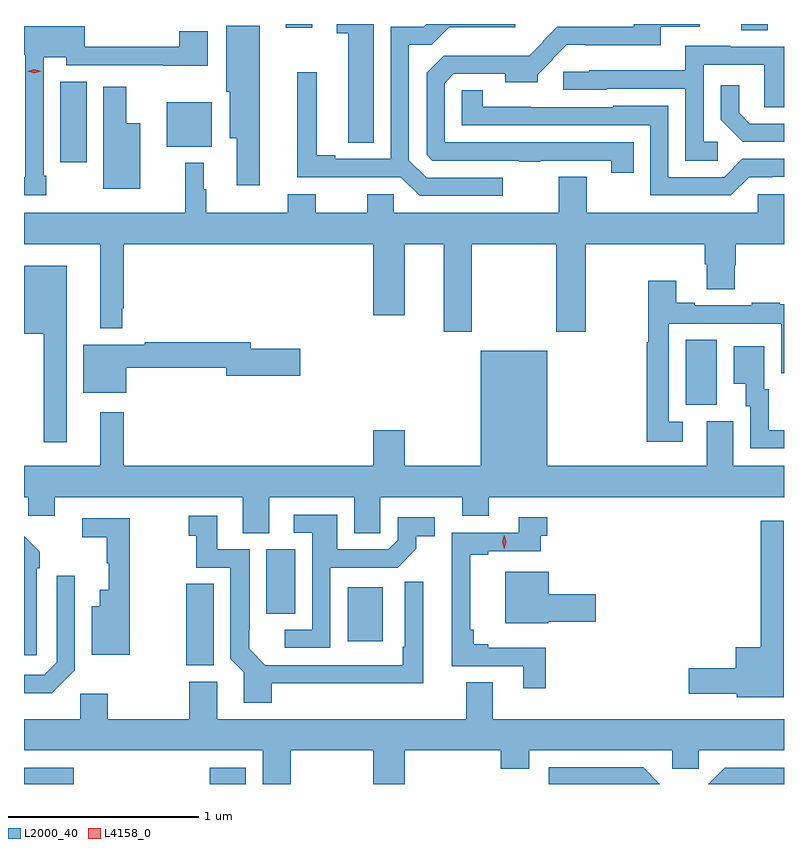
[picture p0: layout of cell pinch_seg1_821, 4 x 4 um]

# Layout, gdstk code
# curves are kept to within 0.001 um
import gdstk
lib = gdstk.Library(unit=1e-6, precision=1e-09)
def R(c, l, rs):  # rectangles x0, y0, x1, y1
    for r in rs: c.add(gdstk.rectangle(r[:2], r[2:], *l))
def P(c, l, *ps):  # polygons
    for p in ps: c.add(gdstk.Polygon(p, *l))
L2000_40 = (2000, 40)
L4158_0 = (4158, 0)

pinch_seg1_821 = lib.new_cell('pinch_seg1_821')
R(pinch_seg1_821, L2000_40, [(462.869,570.202,463.131,570.288), (463.846,570.202,464.037,570.288), (463.724,570.827,463.867,571.256), (464.573,570.953,464.758,571.237), (464.144,571.099,464.296,571.438), (466.352,572.197,466.516,572.54), (463.061,573.474,463.198,573.899), (463.619,573.557,463.858,573.79), (466.643,574.168,466.783,574.202), (464.246,574.182,464.386,574.202)])
P(pinch_seg1_821, L2000_40, [(464.71,574.202),(464.514,574.202),(464.514,574.153),(464.576,574.153),(464.576,573.577),(464.71,573.577)],
  [(466.079,573.579),(465.084,573.579),(465.084,573.891),(465.132,573.939),(465.401,573.939),(465.401,573.896),(465.572,573.896),(465.572,573.936),(465.651,574.014),(465.648,574.017),(465.725,574.094),(465.826,574.094),(465.826,574.091),(466.219,574.091),(466.219,574.188),(466.426,574.188),(466.426,574.202),(466.079,574.202),(466.079,574.188),(465.675,574.188),(465.599,574.111),(465.601,574.109),(465.527,574.036),(465.193,574.036),(465.193,574.034),(465.077,574.034),(464.988,573.945),(464.988,573.513),(465.018,573.483),(465.475,573.483),(465.475,573.478),(465.587,573.478),(465.587,573.483),(465.961,573.483),(465.961,573.42),(466.079,573.42)],
  [(465.388,573.393),(464.988,573.393),(464.895,573.486),(464.895,574.093),(465.016,574.093),(465.107,574.184),(465.454,574.184),(465.454,574.202),(464.987,574.202),(464.973,574.188),(464.799,574.188),(464.799,573.492),(464.506,573.492),(464.506,573.512),(464.41,573.512),(464.41,573.949),(464.306,573.949),(464.306,573.396),(464.852,573.396),(464.951,573.297),(465.388,573.297)],
  [(464.11,574.192),(463.934,574.192),(463.934,573.846),(463.952,573.846),(463.952,573.602),(463.988,573.602),(463.988,573.354),(464.11,573.354)],
  [(462.985,573.403),(462.972,573.403),(462.972,574.028),(463.092,574.028),(463.092,573.984),(463.601,573.984),(463.601,573.983),(463.837,573.983),(463.837,574.165),(463.685,574.165),(463.685,574.082),(463.188,574.082),(463.188,574.189),(462.869,574.189),(462.869,574.04),(462.876,574.04),(462.876,573.396),(462.869,573.396),(462.869,573.3),(462.985,573.3)],
  [(466.519,573.582),(466.446,573.582),(466.446,573.987),(466.764,573.987),(466.764,573.763),(466.869,573.763),(466.869,574.083),(466.585,574.083),(466.585,574.087),(466.349,574.087),(466.349,573.958),(465.843,573.958),(465.843,573.951),(465.708,573.951),(465.708,573.855),(465.933,573.855),(465.933,573.861),(466.35,573.861),(466.35,573.481),(466.519,573.481)],
  [(466.869,573.678),(466.69,573.678),(466.633,573.735),(466.633,573.88),(466.536,573.88),(466.536,573.698),(466.652,573.582),(466.869,573.582)],
  [(463.48,573.679),(463.408,573.679),(463.408,573.871),(463.286,573.871),(463.286,573.335),(463.48,573.335)],
  [(466.686,573.396),(466.806,573.396),(466.806,573.399),(466.869,573.399),(466.869,573.492),(466.65,573.492),(466.554,573.396),(466.26,573.396),(466.26,573.772),(465.969,573.772),(465.969,573.765),(465.283,573.766),(465.283,573.854),(465.174,573.854),(465.174,573.669),(466.164,573.669),(466.164,573.3),(466.59,573.3)],
  [(465.225,573.044),(465.67,573.044),(465.67,572.583),(465.825,572.583),(465.825,573.044),(466.451,573.044),(466.451,572.938),(466.463,572.938),(466.463,572.806),(466.611,572.806),(466.611,572.931),(466.616,572.931),(466.616,573.044),(466.869,573.044),(466.869,573.306),(466.731,573.306),(466.731,573.208),(465.831,573.208),(465.831,573.398),(465.683,573.398),(465.683,573.208),(464.814,573.208),(464.814,573.306),(464.675,573.306),(464.675,573.208),(464.404,573.208),(464.404,573.307),(464.257,573.307),(464.257,573.208),(463.828,573.208),(463.828,573.332),(463.816,573.332),(463.816,573.472),(463.717,573.472),(463.717,573.208),(462.869,573.208),(462.869,573.044),(463.271,573.044),(463.271,572.6),(463.386,572.6),(463.386,572.707),(463.393,572.707),(463.393,573.044),(464.708,573.044),(464.708,572.67),(464.872,572.67),(464.872,573.044),(465.077,573.044),(465.077,572.583),(465.225,572.583)],
  [(463.093,572.929),(462.869,572.929),(462.869,572.573),(462.972,572.573),(462.972,572.001),(463.093,572.001)],
  [(466.336,572.109),(466.263,572.109),(466.263,572.625),(466.854,572.625),(466.854,572.364),(466.869,572.364),(466.869,572.727),(466.847,572.727),(466.847,572.734),(466.699,572.734),(466.699,572.721),(466.399,572.721),(466.399,572.734),(466.303,572.734),(466.303,572.851),(466.155,572.851),(466.155,572.528),(466.147,572.528),(466.147,572.004),(466.336,572.004)],
  [(463.408,572.392),(463.934,572.392),(463.934,572.35),(464.323,572.35),(464.323,572.492),(464.062,572.492),(464.062,572.528),(463.504,572.528),(463.504,572.515),(463.181,572.515),(463.181,572.261),(463.408,572.261)],
  [(466.869,572.064),(466.789,572.064),(466.789,572.28),(466.765,572.28),(466.765,572.506),(466.604,572.506),(466.604,572.309),(466.667,572.309),(466.667,572.19),(466.692,572.19),(466.692,571.968),(466.869,571.968)],
  [(466.463,572.112),(466.463,571.876),(465.622,571.876),(465.622,572.482),(465.272,572.482),(465.272,571.876),(464.872,571.876),(464.872,572.065),(464.708,572.065),(464.708,571.876),(463.393,571.876),(463.393,572.158),(463.271,572.158),(463.271,571.876),(462.869,571.876),(462.869,571.712),(462.891,571.712),(462.891,571.614),(463.03,571.614),(463.03,571.712),(464.021,571.712),(464.021,571.523),(464.161,571.523),(464.161,571.712),(464.606,571.712),(464.606,571.522),(464.745,571.522),(464.745,571.712),(465.176,571.712),(465.176,571.613),(465.316,571.613),(465.316,571.712),(466.869,571.712),(466.869,571.876),(466.603,571.876),(466.603,572.112)],
  [(464.481,571.341),(464.835,571.341),(464.933,571.439),(464.933,571.507),(465.031,571.507),(465.031,571.605),(464.835,571.605),(464.835,571.485),(464.787,571.437),(464.518,571.437),(464.518,571.62),(464.289,571.62),(464.289,571.524),(464.385,571.524),(464.385,571.014),(464.241,571.014),(464.241,570.918),(464.481,570.918)],
  [(464.174,570.731),(464.971,570.731),(464.971,571.266),(464.874,571.266),(464.874,570.925),(464.862,570.925),(464.862,570.828),(464.139,570.828),(464.054,570.914),(464.054,571.015),(464.056,571.015),(464.056,571.437),(463.885,571.437),(463.885,571.615),(463.737,571.615),(463.737,571.509),(463.776,571.509),(463.776,571.341),(463.955,571.341),(463.955,570.861),(464.025,570.791),(464.025,570.63),(464.174,570.63)],
  [(465.614,570.919),(465.313,570.919),(465.313,570.938),(465.236,570.938),(465.236,571.015),(465.218,571.015),(465.218,571.408),(465.313,571.408),(465.313,571.428),(465.59,571.428),(465.59,571.508),(465.622,571.508),(465.622,571.605),(465.473,571.605),(465.473,571.524),(465.119,571.524),(465.119,570.822),(465.497,570.822),(465.497,570.705),(465.614,570.705)],
  [(463.426,571.602),(463.176,571.602),(463.176,571.501),(463.305,571.501),(463.305,571.365),(463.316,571.365),(463.316,571.225),(463.268,571.225),(463.268,571.138),(463.226,571.138),(463.226,570.881),(463.426,570.881)],
  [(466.867,571.588),(466.746,571.588),(466.746,570.922),(466.616,570.922),(466.616,570.812),(466.368,570.812),(466.368,570.677),(466.62,570.677),(466.62,570.659),(466.867,570.659)],
  [(462.936,571.337),(462.951,571.337),(462.951,571.425),(462.869,571.507),(462.869,570.879),(462.936,570.879)],
  [(465.627,571.055),(465.877,571.055),(465.877,571.202),(465.631,571.202),(465.631,571.318),(465.401,571.318),(465.401,571.049),(465.627,571.049)],
  [(463.137,570.801),(463.137,571.297),(463.041,571.297),(463.041,570.843),(462.975,570.777),(462.869,570.777),(462.869,570.68),(463.016,570.68)],
  [(464.274,570.38),(464.708,570.38),(464.708,570.202),(464.872,570.202),(464.872,570.38),(465.377,570.38),(465.377,570.281),(465.529,570.281),(465.529,570.38),(466.281,570.38),(466.281,570.282),(466.419,570.282),(466.419,570.38),(466.869,570.38),(466.869,570.544),(465.337,570.544),(465.337,570.737),(465.197,570.737),(465.197,570.544),(463.885,570.544),(463.885,570.739),(463.738,570.739),(463.738,570.544),(463.311,570.544),(463.311,570.676),(463.164,570.676),(463.164,570.544),(462.869,570.544),(462.869,570.38),(464.126,570.38),(464.126,570.202),(464.274,570.202)],
  [(466.127,570.289),(465.63,570.289),(465.63,570.202),(466.214,570.202)],
  [(466.869,570.288),(466.557,570.288),(466.471,570.202),(466.869,570.202)])
P(pinch_seg1_821, L4158_0, [(465.397,571.441),(465.397,571.441),(465.386,571.476),(465.396,571.512),(465.396,571.512),(465.396,571.512),(465.406,571.477),(465.397,571.441)],
  [(462.924,573.943),(462.889,573.953),(462.889,573.953),(462.889,573.954),(462.924,573.963),(462.959,573.954),(462.959,573.953),(462.959,573.953)])

lib.write_gds('pinch_seg1_821.gds')
